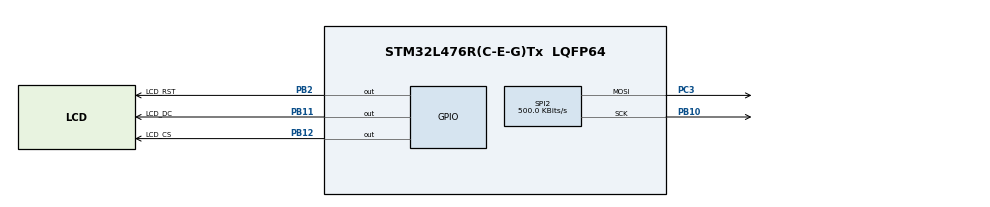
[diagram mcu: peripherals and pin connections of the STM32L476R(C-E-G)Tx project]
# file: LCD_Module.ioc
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Dma.Request0=SPI2_TX
Dma.SPI2_TX.0.Direction=DMA_MEMORY_TO_PERIPH
Dma.SPI2_TX.0.Instance=DMA1_Channel5
Dma.SPI2_TX.0.MemDataAlignment=DMA_MDATAALIGN_BYTE
Dma.SPI2_TX.0.MemInc=DMA_MINC_ENABLE
Dma.SPI2_TX.0.Mode=DMA_NORMAL
Dma.SPI2_TX.0.PeriphDataAlignment=DMA_PDATAALIGN_BYTE
Dma.SPI2_TX.0.PeriphInc=DMA_PINC_DISABLE
Dma.SPI2_TX.0.Priority=DMA_PRIORITY_LOW
Mcu.Family=STM32L4
Mcu.Name=STM32L476R(C-E-G)Tx
Mcu.Package=LQFP64
NVIC.DMA1_Channel5_IRQn=true\:0\:0\:false\:false\:true\:false\:true\:true
NVIC.PriorityGroup=NVIC_PRIORITYGROUP_4
PA13\ (JTMS-SWDIO).Mode=Serial_Wire
PA13\ (JTMS-SWDIO).Signal=SYS_JTMS-SWDIO
PA14\ (JTCK-SWCLK).Mode=Serial_Wire
PA14\ (JTCK-SWCLK).Signal=SYS_JTCK-SWCLK
PB10.Mode=TX_Only_Simplex_Unidirect_Master
PB10.Signal=SPI2_SCK
PB11.GPIO_Label=LCD_DC
PB11.Signal=GPIO_Output
PB12.GPIO_Label=LCD_CS
PB12.PinState=GPIO_PIN_SET
PB12.Signal=GPIO_Output
PB2.GPIO_Label=LCD_RST
PB2.Signal=GPIO_Output
PC3.Mode=TX_Only_Simplex_Unidirect_Master
PC3.Signal=SPI2_MOSI
ProjectManager.HeapSize=0x200
ProjectManager.StackSize=0x2000
ProjectManager.TargetToolchain=STM32CubeIDE
RCC.HSE_VALUE=8000000
RCC.HSI_VALUE=16000000
RCC.LSE_VALUE=32768
RCC.MSI_VALUE=4000000
RCC.VCOOutputFreq_Value=32000000
SPI2.BaudRatePrescaler=SPI_BAUDRATEPRESCALER_8
SPI2.CalculateBaudRate=500.0 KBits/s
SPI2.DataSize=SPI_DATASIZE_8BIT
SPI2.Direction=SPI_DIRECTION_2LINES
SPI2.Mode=SPI_MODE_MASTER
SPI2.NSSPMode=SPI_NSS_PULSE_DISABLE
SPI2.VirtualType=VM_MASTER
board=custom

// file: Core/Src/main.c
/* USER CODE BEGIN Header */
/**
  ******************************************************************************
  * @file           : main.c
  * @brief          : Main program body
  ******************************************************************************
  * @attention
  *
  * Copyright (c) 2026 STMicroelectronics.
  * All rights reserved.
  *
  * This software is licensed under terms that can be found in the LICENSE file
  * in the root directory of this software component.
  * If no LICENSE file comes with this software, it is provided AS-IS.
  *
  ******************************************************************************
  */
/* USER CODE END Header */
#include "main.h"
#include "dma.h"
#include "spi.h"
#include "gpio.h"

/* USER CODE BEGIN Includes */
#include "hagl.h"
#include "font6x9.h"
#include "rgb565.h"

#include "forbot_logo.c"
/* USER CODE END Includes */

void SystemClock_Config(void);

/* USER CODE BEGIN 0 */
uint16_t test_image[64*64];

void HAL_SPI_TxCpltCallback(SPI_HandleTypeDef *hspi)
{
	if (hspi == &hspi2)
	{
		lcd_transfer_done();
	}
}
/* USER CODE END 0 */

int main(void)
{

  /* USER CODE BEGIN 1 */
	void HAL_SPI_TxCpltCallback(SPI_HandleTypeDef *hspi)
	{
		if (hspi == &hspi2)
		{
			HAL_GPIO_WritePin(LCD_CS_GPIO_Port, LCD_CS_Pin, GPIO_PIN_SET);
		}
	}
  /* USER CODE END 1 */

  /* MCU Configuration--------------------------------------------------------*/

  /* Reset of all peripherals, Initializes the Flash interface and the Systick. */
  HAL_Init();

  /* Configure the system clock */
  SystemClock_Config();

  /* Initialize all configured peripherals */
  MX_GPIO_Init();
  MX_DMA_Init();
  MX_SPI2_Init();

  /* Infinite loop */
  /* USER CODE BEGIN WHILE */
  lcd_init();
  for (int i = 0; i < 8; i++) {
    hagl_draw_rounded_rectangle(2+i, 2+i, 158-i, 126-i, 8-i, rgb565(0, 0, i*16));
  }
  hagl_put_text(L"Hello World!", 40, 55, YELLOW, font6x9);
  lcd_copy();

  while (1)
  {
    /* USER CODE END WHILE */

  }
}

void SystemClock_Config(void)
{
  RCC_OscInitTypeDef RCC_OscInitStruct = {0};
  RCC_ClkInitTypeDef RCC_ClkInitStruct = {0};

  /** Configure the main internal regulator output voltage
  */
  if (HAL_PWREx_ControlVoltageScaling(PWR_REGULATOR_VOLTAGE_SCALE1) != HAL_OK)
  {
    Error_Handler();
  }

  /** Initializes the RCC Oscillators according to the specified parameters
  * in the RCC_OscInitTypeDef structure.
  */
  RCC_OscInitStruct.OscillatorType = RCC_OSCILLATORTYPE_MSI;
  RCC_OscInitStruct.MSIState = RCC_MSI_ON;
  RCC_OscInitStruct.MSICalibrationValue = 0;
  RCC_OscInitStruct.MSIClockRange = RCC_MSIRANGE_6;
  RCC_OscInitStruct.PLL.PLLState = RCC_PLL_NONE;
  if (HAL_RCC_OscConfig(&RCC_OscInitStruct) != HAL_OK)
  {
    Error_Handler();
  }

  /** Initializes the CPU, AHB and APB buses clocks
  */
  RCC_ClkInitStruct.ClockType = RCC_CLOCKTYPE_HCLK|RCC_CLOCKTYPE_SYSCLK
                              |RCC_CLOCKTYPE_PCLK1|RCC_CLOCKTYPE_PCLK2;
  RCC_ClkInitStruct.SYSCLKSource = RCC_SYSCLKSOURCE_MSI;
  RCC_ClkInitStruct.AHBCLKDivider = RCC_SYSCLK_DIV1;
  RCC_ClkInitStruct.APB1CLKDivider = RCC_HCLK_DIV1;
  RCC_ClkInitStruct.APB2CLKDivider = RCC_HCLK_DIV1;

  if (HAL_RCC_ClockConfig(&RCC_ClkInitStruct, FLASH_LATENCY_0) != HAL_OK)
  {
    Error_Handler();
  }
}

void Error_Handler(void)
{
  __disable_irq();
  while (1)
  {
  }
}
